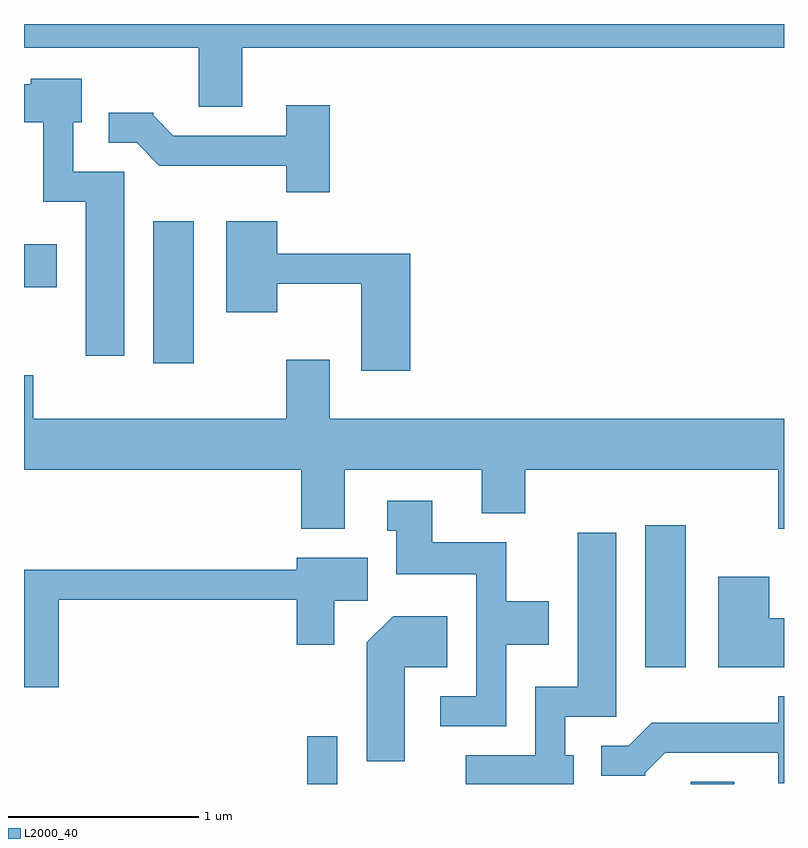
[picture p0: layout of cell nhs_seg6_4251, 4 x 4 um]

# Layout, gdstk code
import gdstk
lib = gdstk.Library(unit=1e-6, precision=1e-09)
def R(c, l, rs):  # rectangles x0, y0, x1, y1
    for r in rs: c.add(gdstk.rectangle(r[:2], r[2:], *l))
def P(c, l, *ps):  # polygons
    for p in ps: c.add(gdstk.Polygon(p, *l))
L2000_40 = (2000, 40)

nhs_seg6_4251 = lib.new_cell('nhs_seg6_4251')
R(nhs_seg6_4251, L2000_40, [(317.101,1546.162,317.259,1546.413), (319.121,1546.162,319.349,1546.174), (318.881,1546.776,319.094,1547.524), (316.291,1548.376,316.504,1549.124), (315.611,1548.776,315.784,1549.004)])
P(nhs_seg6_4251, L2000_40, [(316.759,1550.036),(319.611,1550.036),(319.611,1550.162),(315.611,1550.162),(315.611,1550.036),(316.531,1550.036),(316.531,1549.726),(316.759,1549.726)],
  [(316.139,1549.384),(315.869,1549.384),(315.869,1549.646),(315.914,1549.646),(315.914,1549.874),(315.646,1549.874),(315.646,1549.844),(315.611,1549.844),(315.611,1549.646),(315.711,1549.646),(315.711,1549.226),(315.936,1549.226),(315.936,1548.416),(316.139,1548.416)],
  [(317.219,1549.734),(316.991,1549.734),(316.991,1549.574),(316.397,1549.574),(316.29,1549.681),(316.29,1549.694),(316.058,1549.694),(316.058,1549.536),(316.204,1549.536),(316.324,1549.416),(316.991,1549.416),(316.991,1549.276),(317.219,1549.276)],
  [(317.644,1548.954),(316.944,1548.954),(316.944,1549.124),(316.676,1549.124),(316.676,1548.646),(316.944,1548.646),(316.944,1548.796),(317.386,1548.796),(317.386,1548.336),(317.644,1548.336)],
  [(316.991,1548.394),(316.991,1548.084),(315.659,1548.084),(315.659,1548.314),(315.611,1548.314),(315.611,1547.816),(317.071,1547.816),(317.071,1547.506),(317.299,1547.506),(317.299,1547.816),(318.021,1547.816),(318.021,1547.586),(318.249,1547.586),(318.249,1547.816),(319.581,1547.816),(319.581,1547.506),(319.611,1547.506),(319.611,1548.084),(317.219,1548.084),(317.219,1548.394)],
  [(318.149,1546.896),(318.374,1546.896),(318.374,1547.124),(318.149,1547.124),(318.149,1547.434),(317.759,1547.434),(317.759,1547.654),(317.523,1547.654),(317.523,1547.496),(317.571,1547.496),(317.571,1547.266),(317.991,1547.266),(317.991,1546.624),(317.803,1546.624),(317.803,1546.466),(318.149,1546.466)],
  [(318.504,1546.314),(318.459,1546.314),(318.459,1546.516),(318.729,1546.516),(318.729,1547.484),(318.526,1547.484),(318.526,1546.674),(318.301,1546.674),(318.301,1546.314),(317.936,1546.314),(317.936,1546.162),(318.504,1546.162)],
  [(315.794,1547.131),(317.046,1547.131),(317.046,1546.896),(317.244,1546.896),(317.244,1547.126),(317.419,1547.126),(317.419,1547.354),(317.046,1547.354),(317.046,1547.289),(315.611,1547.289),(315.611,1546.671),(315.794,1546.671)],
  [(319.611,1547.034),(319.534,1547.034),(319.534,1547.254),(319.266,1547.254),(319.266,1546.776),(319.611,1546.776)],
  [(317.614,1546.776),(317.839,1546.776),(317.839,1547.044),(317.554,1547.044),(317.416,1546.907),(317.416,1546.281),(317.614,1546.281)],
  [(319.611,1546.624),(319.581,1546.624),(319.581,1546.484),(318.914,1546.484),(318.794,1546.364),(318.648,1546.364),(318.648,1546.206),(318.88,1546.206),(318.88,1546.22),(318.987,1546.326),(319.581,1546.326),(319.581,1546.166),(319.611,1546.166)])

lib.write_gds('nhs_seg6_4251.gds')
